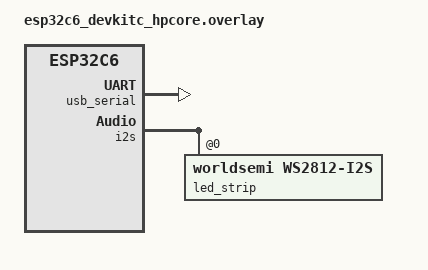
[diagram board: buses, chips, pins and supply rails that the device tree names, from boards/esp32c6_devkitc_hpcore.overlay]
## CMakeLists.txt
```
cmake_minimum_required(VERSION 3.20.0)
find_package(Zephyr REQUIRED HINTS $ENV{ZEPHYR_BASE})
project(lab0_mqtt)

target_sources(app PRIVATE src/main.c)
```

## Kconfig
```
mainmenu "Lab 0 - Minimal IoT Implementation (HTTP)"

config STA_SAMPLE_SSID
	string "Wi-Fi SSID"
	default "changeme"
	help
	  Name of the 2.4 GHz network the node joins. The ESP32-C6 radio does
	  not associate with 5 GHz-only APs.

config STA_SAMPLE_PASSWORD
	string "Wi-Fi password"
	default "changeme"

config LAB_HTTP_SERVER_ADDR
	string "HTTP server address"
	default "192.168.1.77"

config LAB_HTTP_SERVER_PORT
	int "HTTP server port"
	default 8000

config LAB_HTTP_PATH
	string "HTTP request path"
	default "/"

source "Kconfig.zephyr"
```

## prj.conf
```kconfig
CONFIG_LOG=y
CONFIG_CONSOLE=y
CONFIG_UART_CONSOLE=y
CONFIG_PRINTK=y
CONFIG_LOG_MODE_IMMEDIATE=y
# Aumento de stacks para evitar timeouts en el handshake WPA2
CONFIG_MAIN_STACK_SIZE=8192
CONFIG_SYSTEM_WORKQUEUE_STACK_SIZE=4096
CONFIG_STA_SAMPLE_SSID="BRINA"
CONFIG_STA_SAMPLE_PASSWORD="APT402Lu"

# Networking
CONFIG_NETWORKING=y
CONFIG_NET_IPV4=y
CONFIG_NET_IPV6=n
CONFIG_NET_TCP=y
CONFIG_NET_SOCKETS=y
CONFIG_NET_DHCPV4=y
CONFIG_NET_MGMT=y
CONFIG_NET_MGMT_EVENT=y
CONFIG_NET_MGMT_EVENT_INFO=y
CONFIG_NET_CONFIG_SETTINGS=n

CONFIG_WIFI=y

# HTTP server
CONFIG_LAB_HTTP_SERVER_ADDR="192.168.1.77"
CONFIG_LAB_HTTP_SERVER_PORT=8000
CONFIG_LAB_HTTP_PATH="/"
```

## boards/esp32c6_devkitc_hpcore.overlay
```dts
/*
 * Copyright (c) 2025 Espressif Systems (Shanghai) Co., Ltd.
 *
 * SPDX-License-Identifier: Apache-2.0
 */

#include <zephyr/dt-bindings/led/led.h>

/ {
	chosen {
		zephyr,console = &usb_serial;
		zephyr,shell-uart = &usb_serial;
	};

	aliases {
		led-strip = &led_strip;
	};
};

&usb_serial {
	status = "okay";
};

&i2s_default {
	group1 {
		pinmux = <I2S_O_SD_GPIO8>;
	};
};

i2s_led: &i2s {
	status = "okay";

	dmas = <&dma 3>;
	dma-names = "tx";

	led_strip: ws2812@0 {
		compatible = "worldsemi,ws2812-i2s";

		reg = <0>;
		chain-length = <1>;
		color-mapping = <LED_COLOR_ID_GREEN
				 LED_COLOR_ID_RED
				 LED_COLOR_ID_BLUE>;
		reset-delay = <500>;
	};
};

&dma {
	status = "okay";
};
```

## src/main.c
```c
#include <errno.h>
#include <string.h>

#include <zephyr/kernel.h>
#include <zephyr/net/net_event.h>
#include <zephyr/net/net_if.h>
#include <zephyr/net/net_mgmt.h>
#include <zephyr/net/socket.h>
#include <zephyr/net/wifi_mgmt.h>
#include <zephyr/sys/printk.h>

#define HTTP_RX_BUFFER_SIZE 1024
#define WIFI_CONNECT_RETRIES 5

static K_SEM_DEFINE(ipv4_ready, 0, 1);
static K_SEM_DEFINE(wifi_connected, 0, 1);
static struct net_mgmt_event_callback wifi_cb;
static struct net_mgmt_event_callback ipv4_cb;

static void wifi_event_handler(struct net_mgmt_event_callback *cb, uint64_t event,
                               struct net_if *iface)
{
    const struct wifi_status *status = cb->info;

    ARG_UNUSED(iface);

    if (event == NET_EVENT_WIFI_CONNECT_RESULT) {
        if (status->status == 0) {
            printk("WiFi asociado a %s\n", CONFIG_STA_SAMPLE_SSID);
            k_sem_give(&wifi_connected);
        } else {
            printk("WiFi fallo: %d\n", status->status);
        }
    } else if (event == NET_EVENT_WIFI_DISCONNECT_RESULT) {
        printk("WiFi desconectado\n");
    }
}

static void ipv4_event_handler(struct net_mgmt_event_callback *cb, uint64_t event,
                               struct net_if *iface)
{
    char address[NET_IPV4_ADDR_LEN];

    ARG_UNUSED(cb);

    if (event != NET_EVENT_IPV4_ADDR_ADD || iface == NULL) {
        return;
    }

    for (int index = 0; index < NET_IF_MAX_IPV4_ADDR; index++) {
        struct net_if_ipv4 *ipv4 = iface->config.ip.ipv4;

        if (ipv4->unicast[index].ipv4.addr_type != NET_ADDR_DHCP) {
            continue;
        }

        printk("IPv4: %s\n", net_addr_ntop(AF_INET,
            &ipv4->unicast[index].ipv4.address.in_addr,
            address, sizeof(address)));
        k_sem_give(&ipv4_ready);
        return;
    }
}

static int wifi_connect(void)
{
    struct net_if *iface = net_if_get_first_wifi();
    struct wifi_connect_req_params params = { 0 };

    if (iface == NULL) {
        printk("No se encontro interfaz WiFi\n");
        return -ENODEV;
    }

    params.ssid = (const uint8_t *)CONFIG_STA_SAMPLE_SSID;
    params.ssid_length = strlen(CONFIG_STA_SAMPLE_SSID);
    params.psk = (const uint8_t *)CONFIG_STA_SAMPLE_PASSWORD;
    params.psk_length = strlen(CONFIG_STA_SAMPLE_PASSWORD);
    params.security = WIFI_SECURITY_TYPE_PSK;
    params.channel = WIFI_CHANNEL_ANY;
    params.band = WIFI_FREQ_BAND_2_4_GHZ;
    params.mfp = WIFI_MFP_OPTIONAL;

    printk("Conectando WiFi a %s...\n", CONFIG_STA_SAMPLE_SSID);
    return net_mgmt(NET_REQUEST_WIFI_CONNECT, iface, &params, sizeof(params));
}

static int http_get(void)
{
    char request[256];
    char response[HTTP_RX_BUFFER_SIZE + 1];
    struct sockaddr_in server = { 0 };
    int socket_fd;
    int received;
    int request_length;
    int result;

    socket_fd = zsock_socket(AF_INET, SOCK_STREAM, IPPROTO_TCP);
    if (socket_fd < 0) {
        printk("HTTP socket fallo: %d\n", errno);
        return -errno;
    }

    server.sin_family = AF_INET;
    server.sin_port = htons(CONFIG_LAB_HTTP_SERVER_PORT);
    result = zsock_inet_pton(AF_INET, CONFIG_LAB_HTTP_SERVER_ADDR, &server.sin_addr);
    if (result != 1) {
        printk("Direccion HTTP invalida: %s\n", CONFIG_LAB_HTTP_SERVER_ADDR);
        zsock_close(socket_fd);
        return -EINVAL;
    }

    printk("Conectando HTTP a %s:%d...\n",
           CONFIG_LAB_HTTP_SERVER_ADDR, CONFIG_LAB_HTTP_SERVER_PORT);
    if (zsock_connect(socket_fd, (struct sockaddr *)&server, sizeof(server)) < 0) {
        printk("HTTP connect fallo: %d\n", errno);
        zsock_close(socket_fd);
        return -errno;
    }

    request_length = snprintk(request, sizeof(request),
        "GET %s HTTP/1.1\r\nHost: %s\r\nConnection: close\r\n\r\n",
        CONFIG_LAB_HTTP_PATH, CONFIG_LAB_HTTP_SERVER_ADDR);
    if (zsock_send(socket_fd, request, request_length, 0) < 0) {
        printk("HTTP GET fallo: %d\n", errno);
        zsock_close(socket_fd);
        return -errno;
    }

    received = zsock_recv(socket_fd, response, sizeof(response) - 1, 0);
    if (received < 0) {
        printk("HTTP recv fallo: %d\n", errno);
        zsock_close(socket_fd);
        return -errno;
    }

    response[received] = '\0';
    printk("HTTP respuesta (%d bytes):\n%s\n", received, response);
    if (strncmp(response, "HTTP/1.1 200", 12) != 0 &&
        strncmp(response, "HTTP/1.0 200", 12) != 0) {
        printk("HTTP resultado distinto de 200 OK\n");
        zsock_close(socket_fd);
        return -EPROTO;
    }

    printk("HTTP GET completado: 200 OK\n");
    zsock_close(socket_fd);
    return 0;
}

int main(void)
{
    printk("\n\n===================================\n   ZEPHYR ARRANCO CORRECTAMENTE   \n===================================\n\n");

    net_mgmt_init_event_callback(&wifi_cb, wifi_event_handler,
                                 NET_EVENT_WIFI_CONNECT_RESULT |
                                 NET_EVENT_WIFI_DISCONNECT_RESULT);
    net_mgmt_add_event_callback(&wifi_cb);

    net_mgmt_init_event_callback(&ipv4_cb, ipv4_event_handler, NET_EVENT_IPV4_ADDR_ADD);
    net_mgmt_add_event_callback(&ipv4_cb);

    for (int attempt = 1; attempt <= WIFI_CONNECT_RETRIES; attempt++) {
        if (wifi_connect() == 0 &&
            k_sem_take(&wifi_connected, K_SECONDS(10)) == 0) {
            break;
        }

        printk("Reintento WiFi %d/%d\n", attempt, WIFI_CONNECT_RETRIES);
        if (attempt == WIFI_CONNECT_RETRIES) {
            printk("La solicitud de conexion WiFi fallo\n");
            return -EIO;
        }

        k_sleep(K_SECONDS(2));
    }

    k_sem_take(&ipv4_ready, K_FOREVER);
    if (http_get() != 0) {
        printk("La peticion HTTP fallo\n");
        return -EIO;
    }

    return 0;
}
```
